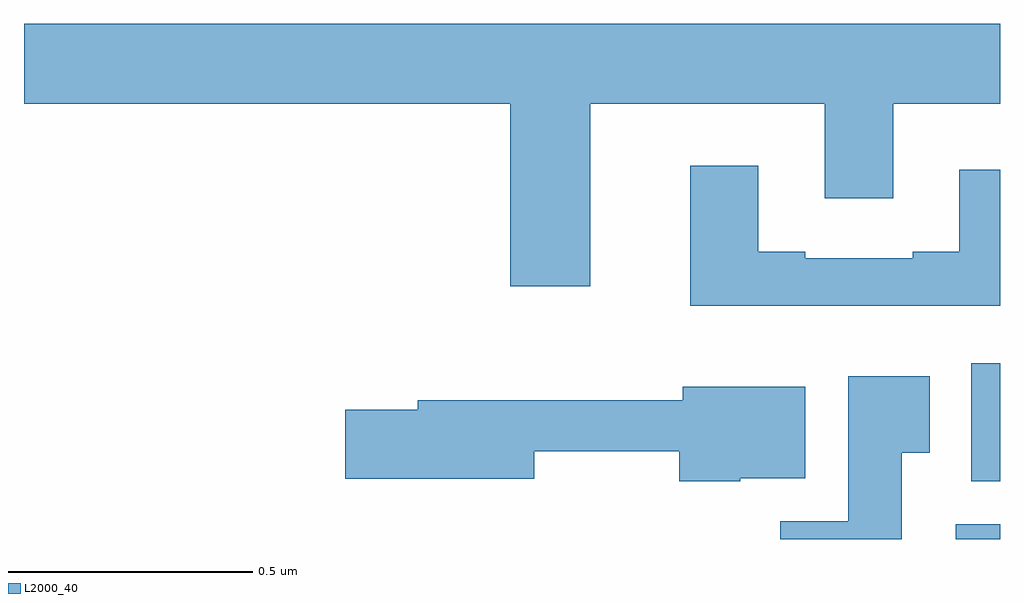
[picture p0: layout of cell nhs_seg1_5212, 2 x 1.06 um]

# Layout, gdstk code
import gdstk
lib = gdstk.Library(unit=1e-6, precision=1e-09)
def R(c, l, rs):  # rectangles x0, y0, x1, y1
    for r in rs: c.add(gdstk.rectangle(r[:2], r[2:], *l))
def P(c, l, *ps):  # polygons
    for p in ps: c.add(gdstk.Polygon(p, *l))
L2000_40 = (2000, 40)

nhs_seg1_5212 = lib.new_cell('nhs_seg1_5212')
R(nhs_seg1_5212, L2000_40, [(177.909,524.199,178,524.23), (177.941,524.318,178,524.56)])
P(nhs_seg1_5212, L2000_40, [(177.16,525.092),(177.641,525.092),(177.641,524.898),(177.781,524.898),(177.781,525.092),(178,525.092),(178,525.256),(176,525.256),(176,525.092),(176.996,525.092),(176.996,524.718),(177.16,524.718)],
  [(178,524.956),(177.917,524.956),(177.917,524.788),(177.821,524.788),(177.821,524.775),(177.601,524.775),(177.601,524.788),(177.505,524.788),(177.505,524.965),(177.365,524.965),(177.365,524.678),(178,524.678)],
  [(177.799,524.377),(177.856,524.377),(177.856,524.533),(177.689,524.533),(177.689,524.236),(177.55,524.236),(177.55,524.199),(177.799,524.199)],
  [(177.468,524.324),(177.601,524.324),(177.601,524.512),(177.35,524.512),(177.35,524.484),(176.807,524.484),(176.807,524.465),(176.658,524.465),(176.658,524.323),(177.046,524.323),(177.046,524.38),(177.343,524.38),(177.343,524.318),(177.468,524.318)])

lib.write_gds('nhs_seg1_5212.gds')
